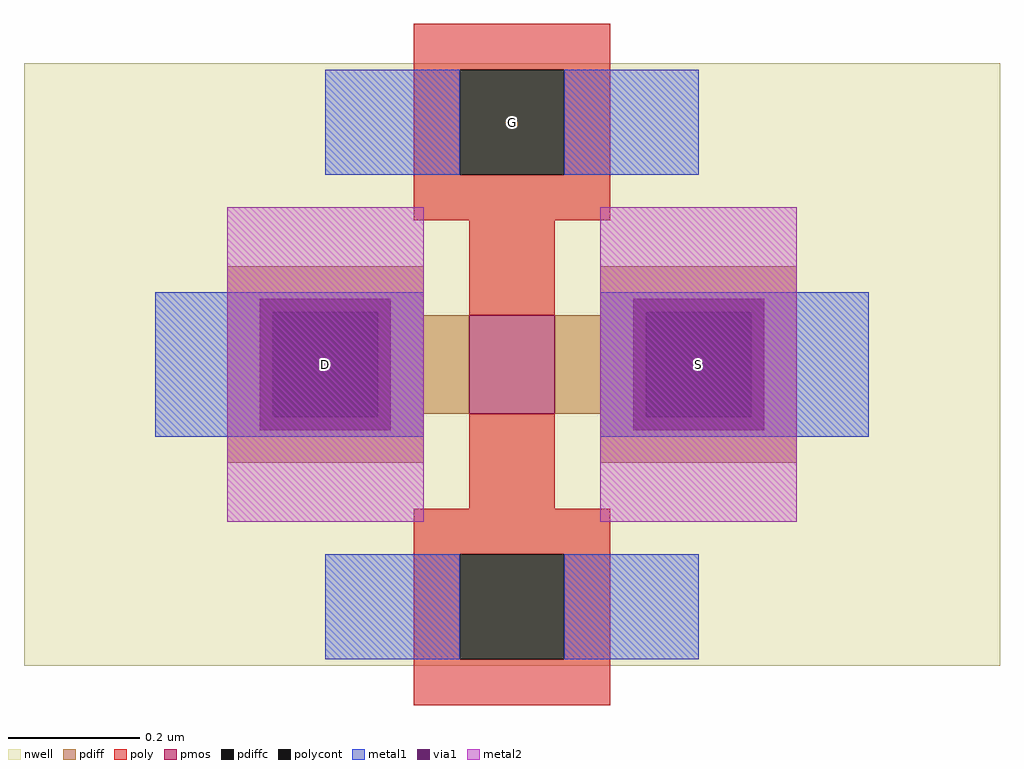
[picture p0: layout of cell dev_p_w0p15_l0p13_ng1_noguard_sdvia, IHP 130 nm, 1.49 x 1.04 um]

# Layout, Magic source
magic
tech ihp-sg13cmos5l
magscale 1 2
<< nwell >>
rect -149 -92 149 92
<< pmos >>
rect -13 -15 13 15
<< pdiff >>
rect -87 16 -27 30
rect -87 -16 -73 16
rect -41 15 -27 16
rect 27 16 87 30
rect 27 15 41 16
rect -41 -15 -13 15
rect 13 -15 41 15
rect -41 -16 -27 -15
rect -87 -30 -27 -16
rect 27 -16 41 -15
rect 73 -16 87 16
rect 27 -30 87 -16
<< pdiffc >>
rect -73 -16 -41 16
rect 41 -16 73 16
<< poly >>
rect -30 90 30 104
rect -30 58 -16 90
rect 16 58 30 90
rect -30 44 30 58
rect -13 15 13 44
rect -13 -44 13 -15
rect -30 -58 30 -44
rect -30 -90 -16 -58
rect 16 -90 30 -58
rect -30 -104 30 -90
<< polycont >>
rect -16 58 16 90
rect -16 -90 16 -58
<< metal1 >>
rect -57 58 -16 90
rect 16 58 57 90
rect -109 -22 -27 22
rect 27 -22 109 22
rect -57 -90 -16 -58
rect 16 -90 57 -58
<< via1 >>
rect -77 16 -37 20
rect -77 -16 -73 16
rect -73 -16 -41 16
rect -41 -16 -37 16
rect -77 -20 -37 -16
rect 37 16 77 20
rect 37 -16 41 16
rect 41 -16 73 16
rect 73 -16 77 16
rect 37 -20 77 -16
<< metal2 >>
rect -87 -48 -27 48
rect 27 -48 87 48
<< labels >>
rlabel pdiffc -57 0 -57 0 0 D
port 1 nsew
rlabel pdiffc 57 0 57 0 0 S
port 2 nsew
rlabel polycont 0 74 0 74 0 G
port 3 nsew
<< properties >>
string gencell sg13_lv_pmos
string library sg13cmos5l
string parameters w 0.15 l 0.13 m 1 ng 1 diffcov 100 polycov 100 guard 0 glc 1 grc 1 gtc 1 gbc 1 tbcov 100 rlcov 100 topc 1 botc 1 poverlap 0 doverlap 1 lmin 0.13 wmin 0.15 class mosfet compatible {sg13_lv_pmos sg13_hv_pmos} full_metal 1 conn_gates 1 gate_ring 0 ccols 1 viasrc 100 viadrn 100 viagate 0 viagb 0 viagr 0 viagl 0 viagt 0 doports 1
<< end >>
